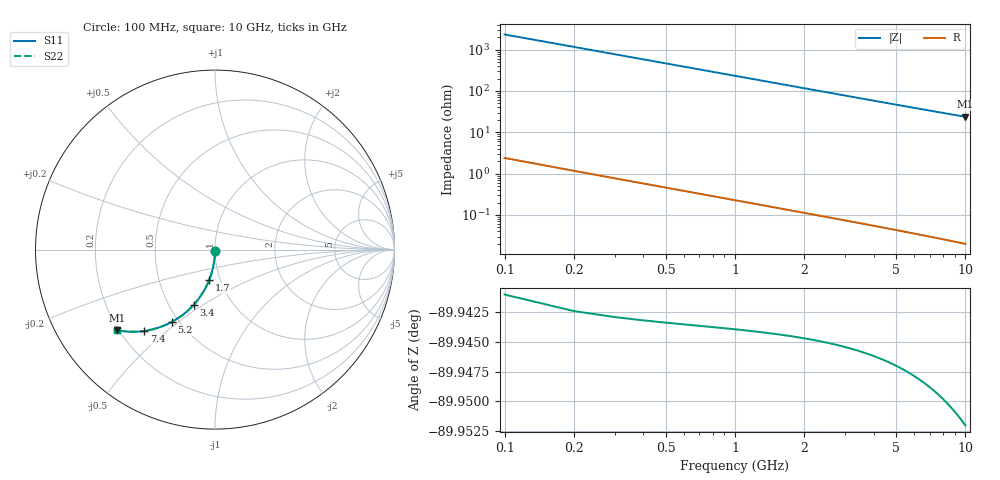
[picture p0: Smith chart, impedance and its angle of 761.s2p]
# Hz S RI R 50.00
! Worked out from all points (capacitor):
!   100 points, 100 MHz to 10 GHz, reference 50 ohm
!   read as one part in shunt: C = 683 fF near 100 MHz
!   lowest |Z| = 23.8 ohm at 10 GHz (marker M1)
!   S11 on the Smith chart (normalised r, x): 100 MHz: 1.00, -0.02; 1.7 GHz: 0.89, -0.31; 3.4 GHz: 0.66, -0.46; 5.2 GHz: 0.46, -0.47; 7.4 GHz: 0.30, -0.42; 10 GHz: 0.19, -0.35
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1e8  6.08e-06 -0.0103  0.9997 -0.0112  0.9997 -0.0112  6.08e-06 -0.0103
2e8  -0.000348 -0.0205  0.9994 -0.0224  0.9994 -0.0224  -0.000348 -0.0205
3e8  -0.000932 -0.0308  0.9988 -0.0336  0.9988 -0.0336  -0.000932 -0.0308
4e8  -0.00174 -0.041  0.998 -0.0447  0.998 -0.0447  -0.00174 -0.041
5e8  -0.00278 -0.0512  0.9969 -0.0558  0.9969 -0.0558  -0.00278 -0.0512
6e8  -0.00405 -0.0613  0.9957 -0.0669  0.9957 -0.0669  -0.00405 -0.0613
8e8  -0.00725 -0.0815  0.9924 -0.089  0.9924 -0.089  -0.00725 -0.0815
1.1e9  -0.0137 -0.1113  0.986 -0.1216  0.986 -0.1216  -0.0137 -0.1113
1.4e9  -0.0221 -0.1405  0.9776 -0.1536  0.9776 -0.1536  -0.0221 -0.1405
1.7e9  -0.0323 -0.1688  0.9673 -0.1847  0.9673 -0.1847  -0.0323 -0.1688
1.8e9  -0.0361 -0.178  0.9635 -0.1949  0.9635 -0.1949  -0.0361 -0.178
2.1e9  -0.0485 -0.205  0.951 -0.2247  0.951 -0.2247  -0.0485 -0.205
2.5e9  -0.0675 -0.2391  0.932 -0.2625  0.932 -0.2625  -0.0675 -0.2391
2.9e9  -0.0889 -0.2709  0.9105 -0.2981  0.9105 -0.2981  -0.0889 -0.2709
3.4e9  -0.1185 -0.3071  0.8808 -0.3391  0.8808 -0.3391  -0.1185 -0.3071
4.2e9  -0.1707 -0.3564  0.8282 -0.396  0.8282 -0.396  -0.1707 -0.3564
5.1e9  -0.2337 -0.399  0.7648 -0.4472  0.7648 -0.4472  -0.2337 -0.399
5.2e9  -0.2408 -0.403  0.7577 -0.4521  0.7577 -0.4521  -0.2408 -0.403
6.7e9  -0.347 -0.444  0.6506 -0.5078  0.6506 -0.5078  -0.347 -0.444
7.4e9  -0.3944 -0.4532  0.6028 -0.5238  0.6028 -0.5238  -0.3944 -0.4532
8.4e9  -0.4579 -0.4576  0.5385 -0.5381  0.5385 -0.5381  -0.4579 -0.4576
1e10  -0.5477 -0.4485  0.4473 -0.5453  0.4473 -0.5453  -0.5477 -0.4485
